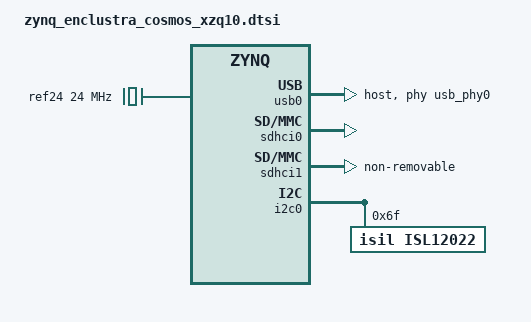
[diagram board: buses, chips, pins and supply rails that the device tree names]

/ {
	usb_phy0: phy0 {
		compatible = "ulpi-phy";
		#phy-cells = <0>;
		reg = <0xe0002000 0x1000>;
		view-port = <0x0170>;
		drv-vbus;
	};
};

&usb0 {
	status = "okay";
	dr_mode = "host";
	usb-phy = <&usb_phy0>;
};

&sdhci0 {
	u-boot,dm-pre-reloc;
	status = "okay";
	disable-wp;
};

&sdhci1 {
	status = "okay";
	non-removable;
};

&amba {
	ref24: ref24M {
		compatible = "fixed-clock";
		#clock-cells = <0>;
		clock-frequency = <24000000>;
	};
};

&i2c0 {
	// The isl12022 driver is used for the ISL12020M
	isl12022: isl12022@6f {
		status = "okay";
		compatible = "isil,isl12022";
		reg = <0x6f>;
	};
};
